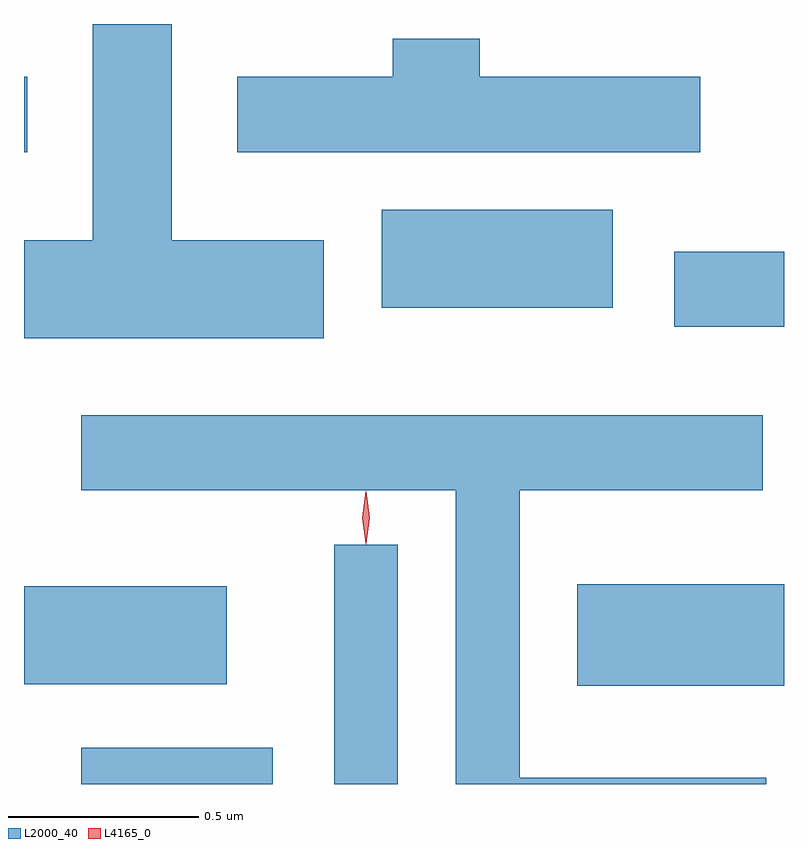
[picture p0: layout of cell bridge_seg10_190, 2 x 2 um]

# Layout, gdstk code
import gdstk
lib = gdstk.Library(unit=1e-6, precision=1e-09)
def R(c, l, rs):  # rectangles x0, y0, x1, y1
    for r in rs: c.add(gdstk.rectangle(r[:2], r[2:], *l))
def P(c, l, *ps):  # polygons
    for p in ps: c.add(gdstk.Polygon(p, *l))
L2000_40 = (2000, 40)
L4165_0 = (4165, 0)

bridge_seg10_190 = lib.new_cell('bridge_seg10_190')
R(bridge_seg10_190, L2000_40, [(1809.566,2141.543,1810.069,2141.639), (1810.231,2141.543,1810.399,2142.173), (1810.871,2141.801,1811.415,2142.069), (1809.415,2141.806,1809.949,2142.064), (1811.126,2142.746,1811.415,2142.944), (1810.356,2142.796,1810.964,2143.054), (1809.415,2143.206,1809.424,2143.404)])
P(bridge_seg10_190, L2000_40, [(1810.204,2142.974),(1809.804,2142.974),(1809.804,2143.543),(1809.596,2143.543),(1809.596,2142.974),(1809.415,2142.974),(1809.415,2142.716),(1810.204,2142.716)],
  [(1811.194,2143.404),(1810.614,2143.404),(1810.614,2143.504),(1810.386,2143.504),(1810.386,2143.404),(1809.976,2143.404),(1809.976,2143.206),(1811.194,2143.206)],
  [(1811.368,2141.559),(1810.719,2141.559),(1810.719,2142.316),(1811.359,2142.316),(1811.359,2142.514),(1809.566,2142.514),(1809.566,2142.316),(1810.551,2142.316),(1810.551,2141.543),(1811.368,2141.543)])
P(bridge_seg10_190, L4165_0, [(1810.315,2142.174),(1810.314,2142.175),(1810.305,2142.244),(1810.314,2142.313),(1810.315,2142.314),(1810.315,2142.313),(1810.325,2142.244),(1810.315,2142.175)],
  [(1810.314,2142.178),(1810.305,2142.244),(1810.315,2142.31),(1810.315,2142.311),(1810.316,2142.31),(1810.325,2142.244),(1810.315,2142.178),(1810.315,2142.178)])

lib.write_gds('bridge_seg10_190.gds')
